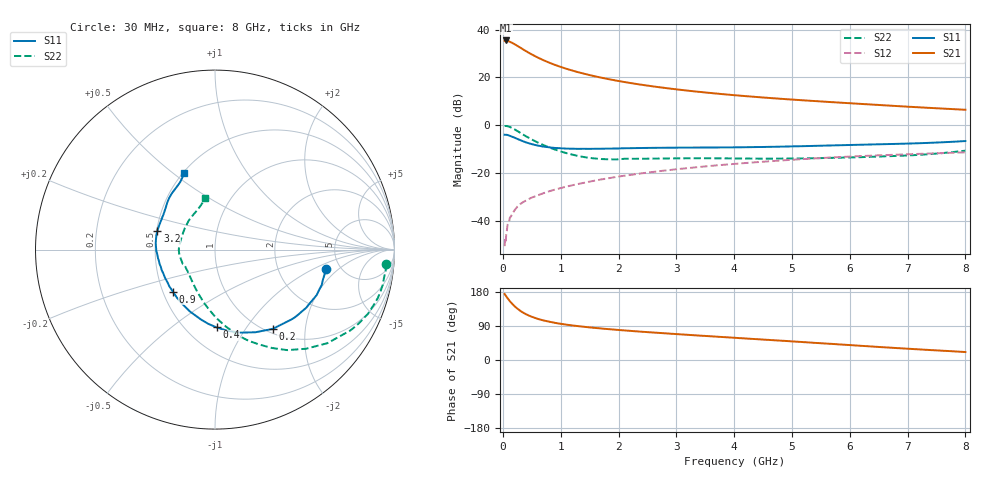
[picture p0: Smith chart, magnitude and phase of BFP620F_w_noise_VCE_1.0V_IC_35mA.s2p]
! Infineon Technologies  Discrete & RF Semiconductors
! BFP620F
! VCE =  1.0 V,  IC =  35 mA
! Common Emitter S-Parameters:  Dec 2014
# GHz  S  MA  R  50
!  f  S11  S21  S12  S22
! GHz  MAG  ANG  MAG  ANG  MAG  ANG  MAG  ANG
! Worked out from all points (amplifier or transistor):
!   95 points, 30 MHz to 8 GHz, reference 50 ohm
!   highest |S21| = 35.5 dB at 60 MHz (marker M1)
!   |S21| within 3 dB of that: start of sweep to 301.1 MHz
!   unconditionally stable (mu >= 1): 2.284 GHz to end of sweep
!   at 300 MHz: K = 0.41, MSG = 32.8 dB, |S12| = -33.1 dB
!   at 3.3 GHz: K = 1.02, MAG = 15.0 dB, |S12| = -17.8 dB
!   at 8 GHz: K = 1.06, MAG = 7.5 dB, |S12| = -11.5 dB
!   lowest NFmin = 1.25 dB at 450 MHz
!   S11 on the Smith chart (normalised r, x): 30 MHz: 3.86, -1.36; 200 MHz: 1.07, -1.35; 400 MHz: 0.69, -0.74; 900 MHz: 0.56, -0.30; 3.2 GHz: 0.50, +0.12; 8 GHz: 0.50, +0.55
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0.03  0.628 -9.8  57.74 174.2  0.0029 83.9  0.9562 -4.9
0.06  0.6264 -18.3  59.26 167.7  0.0056 87.6  0.9554 -11.8
0.1  0.6067 -29.6  57.14 159.2  0.0094 77.9  0.9308 -20.7
0.13  0.5886 -38.0  54.93 153.5  0.0119 74.9  0.9016 -27.0
0.2  0.5462 -54.0  49.67 142.3  0.0163 69.9  0.8147 -39.8
0.25  0.5125 -64.0  45.76 135.6  0.0195 67.9  0.7503 -47.4
0.3  0.4838 -73.0  42.03 129.9  0.0221 66.6  0.6897 -54.3
0.35  0.4574 -81.4  38.45 125.0  0.0243 64.4  0.6327 -60.0
0.4  0.4334 -88.8  35.41 120.8  0.0263 63.7  0.5808 -65.3
0.5  0.398 -101.1  30.18 114.1  0.0302 61.9  0.4993 -74.4
0.6  0.3724 -111.9  26.12 108.7  0.0336 61.8  0.4326 -82.0
0.7  0.3538 -120.7  22.91 104.5  0.0373 61.7  0.3819 -88.8
0.9  0.3317 -135.0  18.25 98.1  0.0444 62.1  0.3073 -100.8
1.1  0.321 -146.1  15.09 93.2  0.0514 62.4  0.2578 -112.0
1.4  0.3182 -158.7  11.95 87.7  0.0617 62.4  0.2139 -127.7
2  0.3236 -176.3  8.384 79.3  0.0833 61.1  0.1909 -153.8
2.7  0.334 170.2  6.221 71.5  0.1079 57.8  0.1986 -169.3
3.2  0.3371 162.3  5.259 66.4  0.1256 55.2  0.2013 -176.6
4.1  0.3423 150.4  4.135 57.7  0.1567 49.6  0.199 171.8
5.4  0.3668 137.5  3.181 45.2  0.2005 40.3  0.2024 150.0
6.7  0.4005 124.9  2.55 32.6  0.2369 30.2  0.2233 126.9
8  0.4625 111.9  2.092 21.0  0.2676 20.4  0.2907 100.5
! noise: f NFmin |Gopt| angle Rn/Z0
0.45  1.25  0.11  -173  0.16
0.9  1.28  0.11  -172  0.13
1.5  1.29  0.16  -150  0.12
1.8  1.3  0.16  -150  0.13
1.9  1.3  0.16  -149  0.13
2.4  1.32  0.17  215  0.15
3.5  1.38  0.18  220  0.18
5.5  1.52  0.24  245  0.15
6  1.56  0.25  260  0.17
